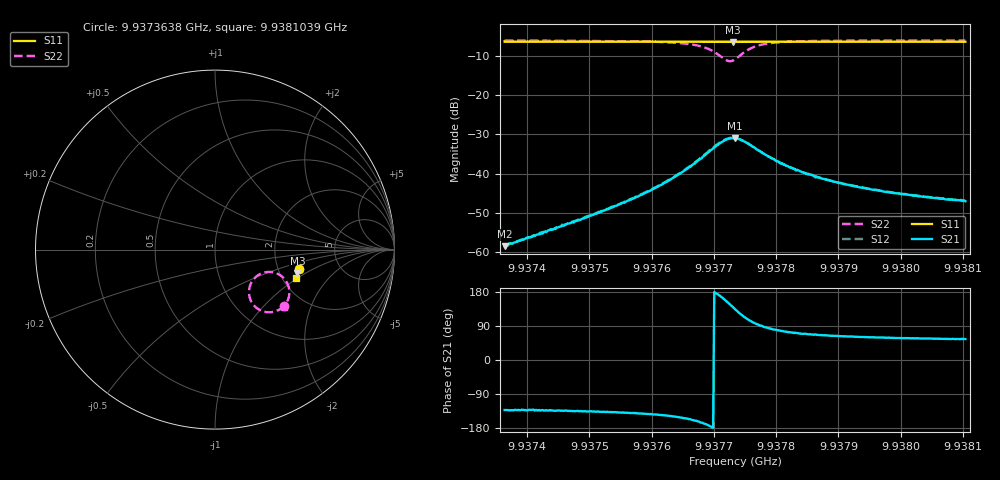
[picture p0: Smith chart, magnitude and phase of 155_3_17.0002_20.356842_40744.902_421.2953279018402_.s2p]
#  HZ  S  RI  R  50.00
! Rohde & Schwarz Vector Network Analyzer
! Rohde-Schwarz,ZNB20-2Port,1311601062101988,3.16
! Created: UTC 3/20/2024, 10:59:01 PM
! freq[Hz]  re:S11  im:S11  re:S21  im:S21  re:S12  im:S12  re:S22  im:S22
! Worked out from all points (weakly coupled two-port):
!   401 points, 9.9373638 GHz to 9.9381039 GHz, reference 50 ohm
!   highest |S21| = -30.96 dB at 9.9377339 GHz (marker M1); lowest = -58.5 dB at 9.9373638 GHz (marker M2)
!   lowest |S11| = -6.4 dB at 9.9377302 GHz (marker M3), VSWR 2.83, Z = 124 - j42.9 ohm
!   |S11| at or under -10 dB: nowhere
!   |S22| runs from -11.3 to -6.0 dB; largest |S21 - S12| = 0.0014
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9.93736384e9  0.4703 -0.1106  -0.000793 -0.000886  -0.000816 -0.000904  0.3844 -0.3154
9.93737864e9  0.47 -0.1116  -0.000892 -0.00097  -0.000877 -0.001  0.3828 -0.3165
9.93748781e9  0.4677 -0.1189  -0.00188 -0.00186  -0.00193 -0.00185  0.3687 -0.3279
9.93755072e9  0.4661 -0.1232  -0.00312 -0.00272  -0.00318 -0.00272  0.3549 -0.3365
9.93761177e9  0.4645 -0.1274  -0.00569 -0.00403  -0.00588 -0.00402  0.3293 -0.3459
9.93764878e9  0.4633 -0.13  -0.00921 -0.00484  -0.00949 -0.00476  0.298 -0.3495
9.93766913e9  0.4626 -0.1314  -0.0126 -0.0046  -0.013 -0.00459  0.2691 -0.3447
9.93768578e9  0.4616 -0.1324  -0.0168 -0.00342  -0.0175 -0.00308  0.2361 -0.3284
9.93769874e9  0.4607 -0.1331  -0.021 -0.000358  -0.0215 0.000176  0.2072 -0.2981
9.93771169e9  0.46 -0.1333  -0.0243 0.0058  -0.0247 0.00679  0.1893 -0.2434
9.93772279e9  0.4595 -0.133  -0.0243 0.0132  -0.0242 0.0144  0.2028 -0.183
9.93773019e9  0.4595 -0.1328  -0.0216 0.0184  -0.0213 0.0193  0.2319 -0.1485
9.93773389e9  0.4597 -0.133  -0.0197 0.0203  -0.0191 0.0213  0.2508 -0.1364
9.93774314e9  0.46 -0.133  -0.0137 0.0232  -0.0129 0.0239  0.3013 -0.1243
9.93775609e9  0.4605 -0.1338  -0.00624 0.0228  -0.00565 0.0232  0.3578 -0.1394
9.93777645e9  0.461 -0.1353  -0.0002 0.0187  0.000567 0.0188  0.4007 -0.183
9.9378079e9  0.4608 -0.138  0.00309 0.013  0.00341 0.0131  0.4145 -0.2316
9.9378301e9  0.4604 -0.1397  0.00344 0.0108  0.00375 0.0107  0.4136 -0.2527
9.93785786e9  0.4599 -0.1417  0.00375 0.00891  0.00385 0.00885  0.4099 -0.2699
9.93790596e9  0.4585 -0.1452  0.00343 0.00664  0.00357 0.00663  0.4027 -0.2884
9.93798182e9  0.4567 -0.1502  0.00298 0.00495  0.00311 0.00494  0.3935 -0.3047
9.93810394e9  0.4535 -0.1583  0.00253 0.00366  0.00268 0.00365  0.3824 -0.3197
